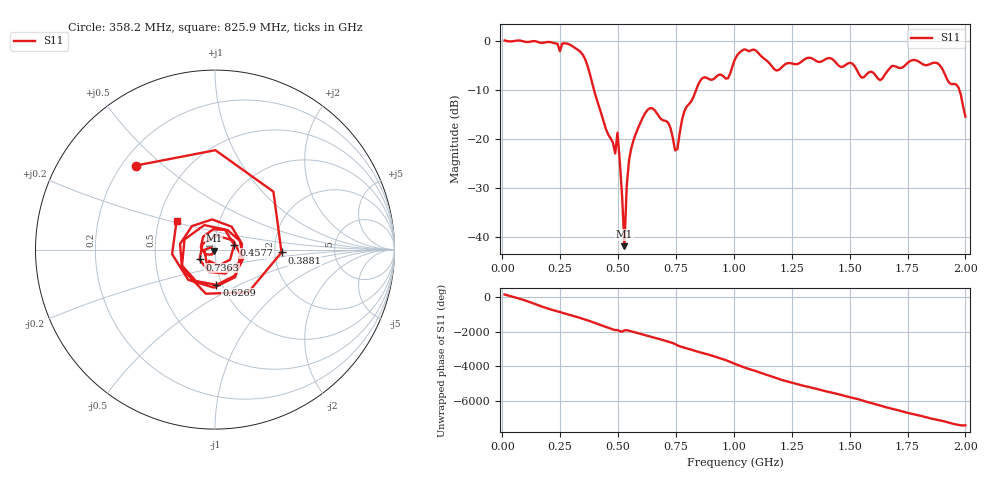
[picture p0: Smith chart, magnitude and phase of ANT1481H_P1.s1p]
!Created with skrf (http://scikit-rf.org).
# Hz S RI R 50.0
!freq ReS11 ImS11
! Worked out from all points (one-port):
!   201 points, 10 MHz to 2 GHz, reference 50 ohm
!   lowest |S11| = -41.9 dB at 527.4 MHz (marker M1), VSWR 1.02, Z = 49.5 - j0.586 ohm
!   |S11| at or under -10 dB: 395.8 MHz to 837.5 MHz (441.7 MHz wide, 71.6 % of centre); 1.973 GHz to end of sweep
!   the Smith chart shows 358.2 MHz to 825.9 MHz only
!   S11 on the Smith chart (normalised r, x): 358.2 MHz: 0.26, +0.41; 388.1 MHz: 2.18, -0.08; 457.8 MHz: 1.24, +0.07; 626.9 MHz: 0.94, -0.38; 736.4 MHz: 0.84, -0.09; 825.9 MHz: 0.62, +0.22
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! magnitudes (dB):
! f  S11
! 10 MHz  0.0
! 258.8 MHz  -0.6
! 358.2 MHz  -3.8
! 388.1 MHz  -8.6
! 457.8 MHz  -19.2
! 487.6 MHz  -23.0
! 497.6 MHz  -18.8
! 507.5 MHz  -24.7
! 527.4 MHz  -41.9
! 537.4 MHz  -29.7
! 547.3 MHz  -24.4
! 626.9 MHz  -14.1
! 736.4 MHz  -19.8
! 756.2 MHz  -22.1
! 786.1 MHz  -14.4
! 825.9 MHz  -11.4
! 865.7 MHz  -7.6
! 975.1 MHz  -7.7
! 1.005 GHz  -3.8
! 1.085 GHz  -1.8
! 1.184 GHz  -6.1
! 1.254 GHz  -4.7
! 1.502 GHz  -4.5
! 1.632 GHz  -8.0
! 1.751 GHz  -4.5
! 1.891 GHz  -5.1
! 1.97 GHz  -9.5
! 2 GHz  -15.5
